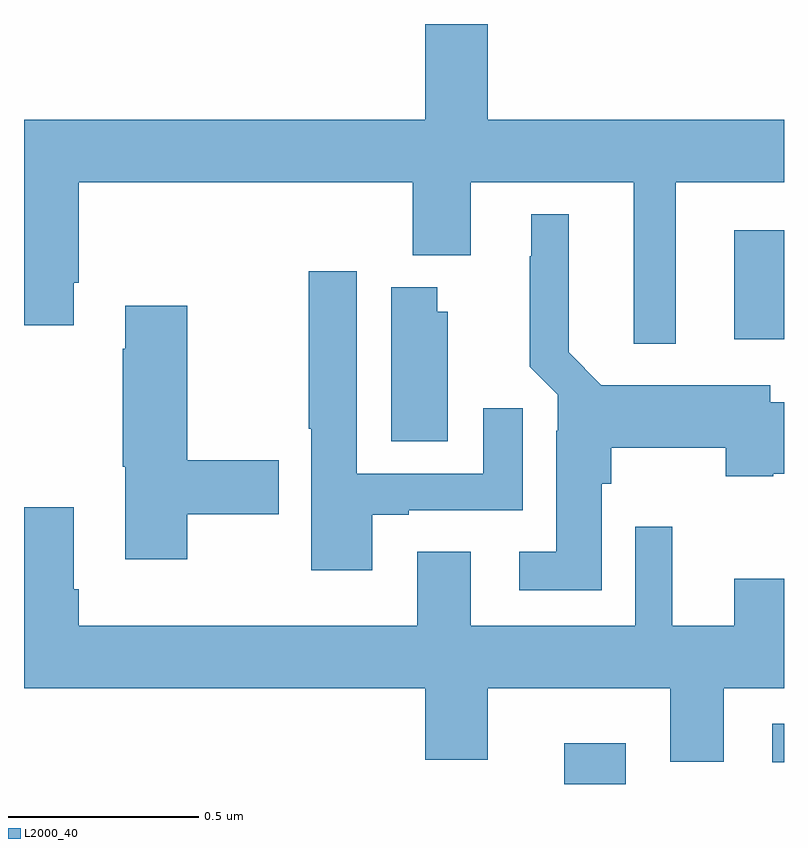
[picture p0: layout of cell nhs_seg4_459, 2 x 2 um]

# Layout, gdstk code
import gdstk
lib = gdstk.Library(unit=1e-6, precision=1e-09)
def R(c, l, rs):  # rectangles x0, y0, x1, y1
    for r in rs: c.add(gdstk.rectangle(r[:2], r[2:], *l))
def P(c, l, *ps):  # polygons
    for p in ps: c.add(gdstk.Polygon(p, *l))
L2000_40 = (2000, 40)

nhs_seg4_459 = lib.new_cell('nhs_seg4_459')
R(nhs_seg4_459, L2000_40, [(117.422,797.9,117.583,798.007), (117.969,797.957,118,798.058), (117.869,799.071,118,799.357)])
P(nhs_seg4_459, L2000_40, [(117.715,799.484),(118,799.484),(118,799.648),(117.22,799.648),(117.22,799.9),(117.056,799.9),(117.056,799.648),(116,799.648),(116,799.107),(116.131,799.107),(116.131,799.219),(116.144,799.219),(116.144,799.484),(117.023,799.484),(117.023,799.292),(117.175,799.292),(117.175,799.484),(117.605,799.484),(117.605,799.059),(117.715,799.059)],
  [(117.52,798.69),(117.546,798.69),(117.546,798.785),(117.847,798.785),(117.847,798.71),(117.972,798.71),(117.972,798.716),(118,798.716),(118,798.904),(117.964,798.904),(117.964,798.949),(117.519,798.949),(117.433,799.036),(117.433,799.399),(117.335,799.399),(117.335,799.289),(117.331,799.289),(117.331,798.998),(117.405,798.924),(117.405,798.83),(117.401,798.83),(117.401,798.511),(117.303,798.511),(117.303,798.41),(117.52,798.41)],
  [(116.917,798.609),(117.013,798.609),(117.013,798.621),(117.313,798.621),(117.313,798.889),(117.209,798.889),(117.209,798.717),(116.875,798.717),(116.875,799.249),(116.749,799.249),(116.749,798.835),(116.756,798.835),(116.756,798.462),(116.917,798.462)],
  [(117.115,799.143),(117.088,799.143),(117.088,799.207),(116.966,799.207),(116.966,798.802),(117.115,798.802)],
  [(116.43,798.61),(116.671,798.61),(116.671,798.752),(116.43,798.752),(116.43,799.159),(116.267,799.159),(116.267,799.046),(116.26,799.046),(116.26,798.735),(116.267,798.735),(116.267,798.492),(116.43,798.492)],
  [(117.841,798.152),(118,798.152),(118,798.44),(117.869,798.44),(117.869,798.316),(117.706,798.316),(117.706,798.577),(117.609,798.577),(117.609,798.316),(117.175,798.316),(117.175,798.511),(117.035,798.511),(117.035,798.316),(116.144,798.316),(116.144,798.412),(116.131,798.412),(116.131,798.628),(116,798.628),(116,798.152),(117.056,798.152),(117.056,797.964),(117.22,797.964),(117.22,798.152),(117.701,798.152),(117.701,797.958),(117.841,797.958)])

lib.write_gds('nhs_seg4_459.gds')
